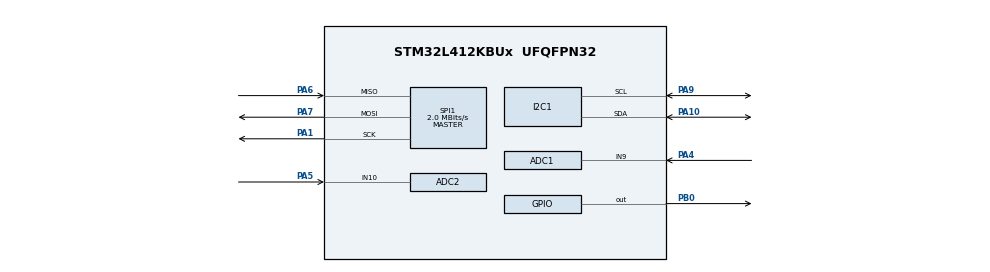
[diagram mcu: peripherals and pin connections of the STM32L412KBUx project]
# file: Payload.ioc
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ADC1.Channel-0\#ChannelRegularConversion=ADC_CHANNEL_9
ADC1.NbrOfConversionFlag=1
ADC1.OffsetNumber-0\#ChannelRegularConversion=ADC_OFFSET_NONE
ADC1.Rank-0\#ChannelRegularConversion=1
ADC1.SamplingTime-0\#ChannelRegularConversion=ADC_SAMPLETIME_2CYCLES_5
ADC1.master=1
ADC2.Channel-1\#ChannelRegularConversion=ADC_CHANNEL_10
ADC2.NbrOfConversionFlag=1
ADC2.OffsetNumber-1\#ChannelRegularConversion=ADC_OFFSET_NONE
ADC2.Rank-1\#ChannelRegularConversion=1
ADC2.SamplingTime-1\#ChannelRegularConversion=ADC_SAMPLETIME_6CYCLES_5
FATFS._MAX_SS=4096
FATFS._USE_LFN=1
Mcu.Family=STM32L4
Mcu.Name=STM32L412KBUx
Mcu.Package=UFQFPN32
NVIC.PriorityGroup=NVIC_PRIORITYGROUP_4
PA1.Mode=Full_Duplex_Master
PA1.Signal=SPI1_SCK
PA10.Mode=I2C
PA10.Signal=I2C1_SDA
PA13\ (JTMS/SWDIO).Mode=Serial_Wire
PA13\ (JTMS/SWDIO).Signal=SYS_JTMS-SWDIO
PA14\ (JTCK/SWCLK).Mode=Serial_Wire
PA14\ (JTCK/SWCLK).Signal=SYS_JTCK-SWCLK
PA4.Signal=ADCx_IN9
PA5.Signal=ADCx_IN10
PA6.Mode=Full_Duplex_Master
PA6.Signal=SPI1_MISO
PA7.Mode=Full_Duplex_Master
PA7.Signal=SPI1_MOSI
PA9.Mode=I2C
PA9.Signal=I2C1_SCL
PB0.Signal=GPIO_Output
ProjectManager.HeapSize=0x200
ProjectManager.StackSize=0x400
ProjectManager.TargetToolchain=STM32CubeIDE
RCC.ADCFreq_Value=4000000
RCC.HSE_VALUE=8000000
RCC.HSI48_VALUE=48000000
RCC.HSI_VALUE=16000000
RCC.LSE_VALUE=32768
RCC.MSI_VALUE=4000000
RCC.USBFreq_Value=4000000
RCC.VCOOutputFreq_Value=32000000
SH.ADCx_IN10.0=ADC1_IN10
SH.ADCx_IN10.1=ADC2_IN10,IN10-Single-Ended
SH.ADCx_IN9.0=ADC1_IN9,IN9-Single-Ended
SH.ADCx_IN9.1=ADC2_IN9
SPI1.BaudRatePrescaler=SPI_BAUDRATEPRESCALER_2
SPI1.CalculateBaudRate=2.0 MBits/s
SPI1.DataSize=SPI_DATASIZE_8BIT
SPI1.Direction=SPI_DIRECTION_2LINES
SPI1.Mode=SPI_MODE_MASTER
SPI1.VirtualType=VM_MASTER
VP_FATFS_VS_Generic.Mode=User_defined
board=custom

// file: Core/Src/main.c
/* USER CODE BEGIN Header */
/**
  ******************************************************************************
  * @file           : main.c
  * @brief          : Main program body
  ******************************************************************************
  * @attention
  *
  * Copyright (c) 2023 STMicroelectronics.
  * All rights reserved.
  *
  * This software is licensed under terms that can be found in the LICENSE file
  * in the root directory of this software component.
  * If no LICENSE file comes with this software, it is provided AS-IS.
  *
  ******************************************************************************
  */
/* USER CODE END Header */
#include "main.h"
#include "fatfs.h"

/* USER CODE BEGIN Includes */
#include "fatfs.h"
#include "string.h"
#include "stdio.h"

#include "bno055.h"
#include "bno055_stm32.h"
#include "BMP280.h"
/* USER CODE END Includes */

ADC_HandleTypeDef hadc1;
ADC_HandleTypeDef hadc2;

I2C_HandleTypeDef hi2c1;

SPI_HandleTypeDef hspi1;

/* USER CODE BEGIN PV */
float Ax;
float Ay;
float Az;
float Str;
/* USER CODE END PV */

void SystemClock_Config(void);
static void MX_GPIO_Init(void);
static void MX_SPI1_Init(void);
static void MX_I2C1_Init(void);
static void MX_ADC1_Init(void);
static void MX_ADC2_Init(void);

/* USER CODE BEGIN 0 */

FATFS fs;  // file system
FIL fil; // File
FILINFO fno;
FRESULT fresult;  // result
UINT br, bw;  // File read/write count
char buffer[1024];

UINT br, bw; //file read/write count

/**** capacity related *****/
FATFS *pfs;
DWORD fre_clust;
uint32_t total, free_space;
#define BUFFER_SIZE 128

//To find the size of the buffer
int bufsize (char *buf)
{
	int i=0;
	while (*buf++ != '\0') i++;
	return i;
}

void clear_buffer (void)
{
	for (int i=0; i<BUFFER_SIZE; i++) buffer[i] = '\0';
}

/* USER CODE END 0 */

int main(void)
{

  /* MCU Configuration--------------------------------------------------------*/

  /* Reset of all peripherals, Initializes the Flash interface and the Systick. */
  HAL_Init();

  /* Configure the system clock */
  SystemClock_Config();

  /* Initialize all configured peripherals */
  MX_GPIO_Init();
  MX_SPI1_Init();
  MX_FATFS_Init();
  MX_I2C1_Init();
  MX_ADC1_Init();
  MX_ADC2_Init();
  /* USER CODE BEGIN 2 */

  //mount sd card
  fresult = f_mount(&fs, "/", 1);

  	/*************** Card capacity details ********************/

  	/* Check free space */
  	//f_getfree("", &fre_clust, &pfs);

  	total = (uint32_t)((pfs->n_fatent - 2) * pfs->csize * 0.5);
  	sprintf (buffer, "SD CARD Total Size: \t%lu\n",total);
  	clear_buffer();
  	free_space = (uint32_t)(fre_clust * pfs->csize * 0.5);
  	sprintf (buffer, "SD CARD Free Space: \t%lu\n\n",free_space);
  	clear_buffer();

  	/************* The following operation is using PUTS and GETS *********************/

  	  	/* Open file to write/ create a file if it doesn't exist */
  	    fresult = f_open(&fil, "FlightData.txt", FA_OPEN_ALWAYS | FA_READ | FA_WRITE);

  	  	/* Writing text */
  	  	f_puts("\nTemperature(C), Pressure(Pa), Altitude(m), Acceleration(m/s^2), Strain(volts)\n", &fil);

  	  	/* Close file */
  	  	fresult = f_close(&fil);
  	  	/* Close file */
  	  	f_close(&fil);

  	  	clear_buffer();

  	   BMP280_init();

  	   bno055_assignI2C(&hi2c1);
  	   bno055_setup();
  	   bno055_setOperationModeNDOF();
  /* USER CODE END 2 */

  /* Infinite loop */
  /* USER CODE BEGIN WHILE */
  	 char output[100];
  	 uint16_t rawOne;
  	 uint16_t rawTwo;

  while (1)
  {

	  	// Collects Temp/Press/Altitude----------------------
	  	  	BMP280_calc_values();
	  	// Calculate acceleration values---------------------
	  		bno055_vector_t l = bno055_getVectorLinearAccel();
	  		Ax=l.x;
	  		Ay=l.y;
	  		Az=l.z;
	  	    //Calculate strain values
	  	          HAL_ADC_Start(&hadc1);
	  	        HAL_ADC_PollForConversion(&hadc1, HAL_MAX_DELAY);
	  	          rawOne = HAL_ADC_GetValue(&hadc1);

	  	          HAL_ADC_Start(&hadc2);
	  	          HAL_ADC_PollForConversion(&hadc2, HAL_MAX_DELAY);
	  	          rawTwo = HAL_ADC_GetValue(&hadc2);

	  	          Str= ((float)(rawTwo - rawOne))*(3.3/4096);

	  	//Write Data to SD Card

	  		sprintf(output, "%.3f \t     %.3f    %.3f  %.3f    %.3f \t \n", temperature, pressure, altitude, Az, Str);
	  		fresult = f_open(&fil, "FlightData.txt", FA_OPEN_APPEND | FA_READ | FA_WRITE);
	  		f_puts(output, &fil);
	  		fresult = f_close(&fil);

    /* USER CODE END WHILE */

  }
}

void SystemClock_Config(void)
{
  RCC_OscInitTypeDef RCC_OscInitStruct = {0};
  RCC_ClkInitTypeDef RCC_ClkInitStruct = {0};

  /** Configure the main internal regulator output voltage
  */
  if (HAL_PWREx_ControlVoltageScaling(PWR_REGULATOR_VOLTAGE_SCALE1) != HAL_OK)
  {
    Error_Handler();
  }

  /** Initializes the RCC Oscillators according to the specified parameters
  * in the RCC_OscInitTypeDef structure.
  */
  RCC_OscInitStruct.OscillatorType = RCC_OSCILLATORTYPE_MSI;
  RCC_OscInitStruct.MSIState = RCC_MSI_ON;
  RCC_OscInitStruct.MSICalibrationValue = 0;
  RCC_OscInitStruct.MSIClockRange = RCC_MSIRANGE_6;
  RCC_OscInitStruct.PLL.PLLState = RCC_PLL_NONE;
  if (HAL_RCC_OscConfig(&RCC_OscInitStruct) != HAL_OK)
  {
    Error_Handler();
  }

  /** Initializes the CPU, AHB and APB buses clocks
  */
  RCC_ClkInitStruct.ClockType = RCC_CLOCKTYPE_HCLK|RCC_CLOCKTYPE_SYSCLK
                              |RCC_CLOCKTYPE_PCLK1|RCC_CLOCKTYPE_PCLK2;
  RCC_ClkInitStruct.SYSCLKSource = RCC_SYSCLKSOURCE_MSI;
  RCC_ClkInitStruct.AHBCLKDivider = RCC_SYSCLK_DIV1;
  RCC_ClkInitStruct.APB1CLKDivider = RCC_HCLK_DIV1;
  RCC_ClkInitStruct.APB2CLKDivider = RCC_HCLK_DIV1;

  if (HAL_RCC_ClockConfig(&RCC_ClkInitStruct, FLASH_LATENCY_0) != HAL_OK)
  {
    Error_Handler();
  }
}

static void MX_ADC1_Init(void)
{

  ADC_MultiModeTypeDef multimode = {0};
  ADC_ChannelConfTypeDef sConfig = {0};

  /** Common config
  */
  hadc1.Instance = ADC1;
  hadc1.Init.ClockPrescaler = ADC_CLOCK_ASYNC_DIV1;
  hadc1.Init.Resolution = ADC_RESOLUTION_12B;
  hadc1.Init.DataAlign = ADC_DATAALIGN_RIGHT;
  hadc1.Init.ScanConvMode = ADC_SCAN_DISABLE;
  hadc1.Init.EOCSelection = ADC_EOC_SINGLE_CONV;
  hadc1.Init.LowPowerAutoWait = DISABLE;
  hadc1.Init.ContinuousConvMode = DISABLE;
  hadc1.Init.NbrOfConversion = 1;
  hadc1.Init.DiscontinuousConvMode = DISABLE;
  hadc1.Init.ExternalTrigConv = ADC_SOFTWARE_START;
  hadc1.Init.ExternalTrigConvEdge = ADC_EXTERNALTRIGCONVEDGE_NONE;
  hadc1.Init.DMAContinuousRequests = DISABLE;
  hadc1.Init.Overrun = ADC_OVR_DATA_PRESERVED;
  hadc1.Init.OversamplingMode = DISABLE;
  if (HAL_ADC_Init(&hadc1) != HAL_OK)
  {
    Error_Handler();
  }

  /** Configure the ADC multi-mode
  */
  multimode.Mode = ADC_MODE_INDEPENDENT;
  if (HAL_ADCEx_MultiModeConfigChannel(&hadc1, &multimode) != HAL_OK)
  {
    Error_Handler();
  }

  /** Configure Regular Channel
  */
  sConfig.Channel = ADC_CHANNEL_9;
  sConfig.Rank = ADC_REGULAR_RANK_1;
  sConfig.SamplingTime = ADC_SAMPLETIME_2CYCLES_5;
  sConfig.SingleDiff = ADC_SINGLE_ENDED;
  sConfig.OffsetNumber = ADC_OFFSET_NONE;
  sConfig.Offset = 0;
  if (HAL_ADC_ConfigChannel(&hadc1, &sConfig) != HAL_OK)
  {
    Error_Handler();
  }

}

static void MX_ADC2_Init(void)
{

  ADC_ChannelConfTypeDef sConfig = {0};

  /** Common config
  */
  hadc2.Instance = ADC2;
  hadc2.Init.ClockPrescaler = ADC_CLOCK_ASYNC_DIV1;
  hadc2.Init.Resolution = ADC_RESOLUTION_12B;
  hadc2.Init.DataAlign = ADC_DATAALIGN_RIGHT;
  hadc2.Init.ScanConvMode = ADC_SCAN_DISABLE;
  hadc2.Init.EOCSelection = ADC_EOC_SINGLE_CONV;
  hadc2.Init.LowPowerAutoWait = DISABLE;
  hadc2.Init.ContinuousConvMode = DISABLE;
  hadc2.Init.NbrOfConversion = 1;
  hadc2.Init.DiscontinuousConvMode = DISABLE;
  hadc2.Init.ExternalTrigConv = ADC_SOFTWARE_START;
  hadc2.Init.ExternalTrigConvEdge = ADC_EXTERNALTRIGCONVEDGE_NONE;
  hadc2.Init.DMAContinuousRequests = DISABLE;
  hadc2.Init.Overrun = ADC_OVR_DATA_PRESERVED;
  hadc2.Init.OversamplingMode = DISABLE;
  if (HAL_ADC_Init(&hadc2) != HAL_OK)
  {
    Error_Handler();
  }

  /** Configure Regular Channel
  */
  sConfig.Channel = ADC_CHANNEL_10;
  sConfig.Rank = ADC_REGULAR_RANK_1;
  sConfig.SamplingTime = ADC_SAMPLETIME_6CYCLES_5;
  sConfig.SingleDiff = ADC_SINGLE_ENDED;
  sConfig.OffsetNumber = ADC_OFFSET_NONE;
  sConfig.Offset = 0;
  if (HAL_ADC_ConfigChannel(&hadc2, &sConfig) != HAL_OK)
  {
    Error_Handler();
  }

}

static void MX_I2C1_Init(void)
{

  hi2c1.Instance = I2C1;
  hi2c1.Init.Timing = 0x00000E14;
  hi2c1.Init.OwnAddress1 = 0;
  hi2c1.Init.AddressingMode = I2C_ADDRESSINGMODE_7BIT;
  hi2c1.Init.DualAddressMode = I2C_DUALADDRESS_DISABLE;
  hi2c1.Init.OwnAddress2 = 0;
  hi2c1.Init.OwnAddress2Masks = I2C_OA2_NOMASK;
  hi2c1.Init.GeneralCallMode = I2C_GENERALCALL_DISABLE;
  hi2c1.Init.NoStretchMode = I2C_NOSTRETCH_DISABLE;
  if (HAL_I2C_Init(&hi2c1) != HAL_OK)
  {
    Error_Handler();
  }

  /** Configure Analogue filter
  */
  if (HAL_I2CEx_ConfigAnalogFilter(&hi2c1, I2C_ANALOGFILTER_ENABLE) != HAL_OK)
  {
    Error_Handler();
  }

  /** Configure Digital filter
  */
  if (HAL_I2CEx_ConfigDigitalFilter(&hi2c1, 0) != HAL_OK)
  {
    Error_Handler();
  }

}

static void MX_SPI1_Init(void)
{

  /* SPI1 parameter configuration*/
  hspi1.Instance = SPI1;
  hspi1.Init.Mode = SPI_MODE_MASTER;
  hspi1.Init.Direction = SPI_DIRECTION_2LINES;
  hspi1.Init.DataSize = SPI_DATASIZE_8BIT;
  hspi1.Init.CLKPolarity = SPI_POLARITY_LOW;
  hspi1.Init.CLKPhase = SPI_PHASE_1EDGE;
  hspi1.Init.NSS = SPI_NSS_SOFT;
  hspi1.Init.BaudRatePrescaler = SPI_BAUDRATEPRESCALER_2;
  hspi1.Init.FirstBit = SPI_FIRSTBIT_MSB;
  hspi1.Init.TIMode = SPI_TIMODE_DISABLE;
  hspi1.Init.CRCCalculation = SPI_CRCCALCULATION_DISABLE;
  hspi1.Init.CRCPolynomial = 7;
  hspi1.Init.CRCLength = SPI_CRC_LENGTH_DATASIZE;
  hspi1.Init.NSSPMode = SPI_NSS_PULSE_ENABLE;
  if (HAL_SPI_Init(&hspi1) != HAL_OK)
  {
    Error_Handler();
  }

}

static void MX_GPIO_Init(void)
{
  GPIO_InitTypeDef GPIO_InitStruct = {0};

  /* GPIO Ports Clock Enable */
  __HAL_RCC_GPIOA_CLK_ENABLE();
  __HAL_RCC_GPIOB_CLK_ENABLE();

  /*Configure GPIO pin Output Level */
  HAL_GPIO_WritePin(GPIOB, GPIO_PIN_0, GPIO_PIN_RESET);

  /*Configure GPIO pin : PB0 */
  GPIO_InitStruct.Pin = GPIO_PIN_0;
  GPIO_InitStruct.Mode = GPIO_MODE_OUTPUT_PP;
  GPIO_InitStruct.Pull = GPIO_NOPULL;
  GPIO_InitStruct.Speed = GPIO_SPEED_FREQ_LOW;
  HAL_GPIO_Init(GPIOB, &GPIO_InitStruct);

}

void Error_Handler(void)
{
  __disable_irq();
  while (1)
  {
  }
}
